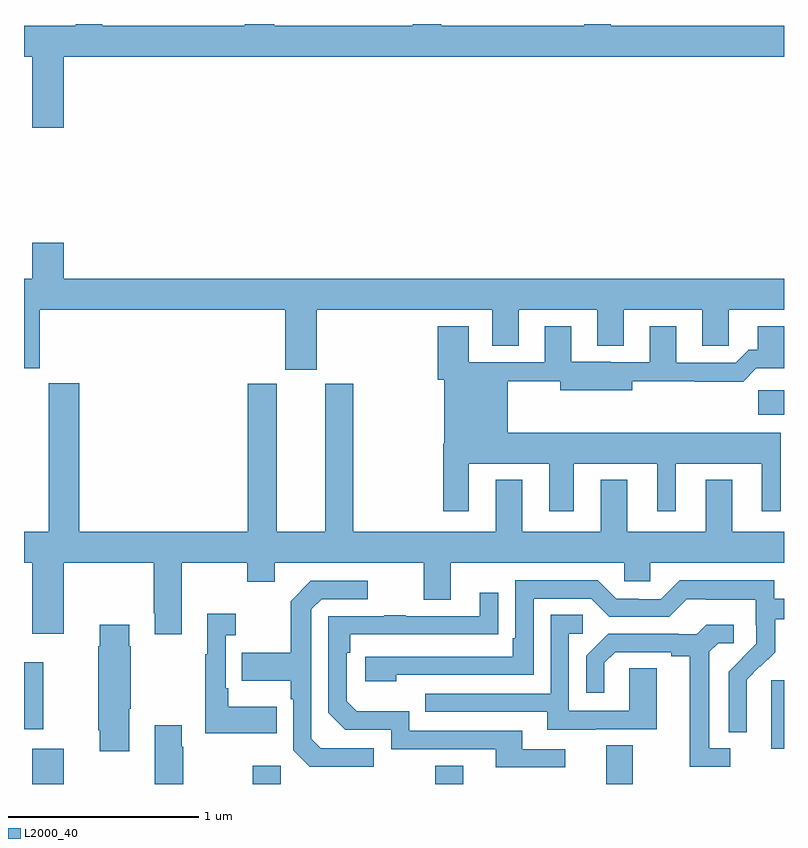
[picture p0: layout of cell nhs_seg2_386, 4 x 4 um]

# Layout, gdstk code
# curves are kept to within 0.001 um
import gdstk
lib = gdstk.Library(unit=1e-6, precision=1e-09)
def R(c, l, rs):  # rectangles x0, y0, x1, y1
    for r in rs: c.add(gdstk.rectangle(r[:2], r[2:], *l))
def P(c, l, *ps):  # polygons
    for p in ps: c.add(gdstk.Polygon(p, *l))
L2000_40 = (2000, 40)

nhs_seg2_386 = lib.new_cell('nhs_seg2_386')
R(nhs_seg2_386, L2000_40, [(129.044,651.8,129.208,651.985), (130.204,651.8,130.35,651.895), (131.164,651.8,131.311,651.895), (132.065,651.8,132.205,652.004), (132.932,651.986,133,652.347), (129,652.089,129.102,652.441), (132.864,653.744,133,653.873)])
P(nhs_seg2_386, L2000_40, [(129.208,655.628),(133,655.628),(133,655.792),(132.087,655.792),(132.087,655.8),(131.949,655.8),(131.949,655.792),(131.197,655.792),(131.197,655.8),(131.045,655.8),(131.045,655.792),(130.316,655.792),(130.316,655.8),(130.163,655.8),(130.163,655.792),(129.411,655.792),(129.411,655.8),(129.273,655.8),(129.273,655.792),(129,655.792),(129,655.628),(129.044,655.628),(129.044,655.254),(129.208,655.254)],
  [(130.54,654.296),(131.465,654.296),(131.465,654.106),(131.605,654.106),(131.605,654.296),(132.017,654.296),(132.017,654.107),(132.157,654.107),(132.157,654.296),(132.569,654.296),(132.569,654.106),(132.708,654.106),(132.708,654.296),(133,654.296),(133,654.46),(129.208,654.46),(129.208,654.649),(129.044,654.649),(129.044,654.46),(129,654.46),(129,653.987),(129.082,653.987),(129.082,654.296),(130.376,654.296),(130.376,653.979),(130.54,653.979)],
  [(131.341,653.486),(131.765,653.486),(131.765,653.235),(131.893,653.235),(131.893,653.486),(132.332,653.486),(132.332,653.235),(132.43,653.235),(132.43,653.486),(132.884,653.486),(132.884,653.235),(132.982,653.235),(132.982,653.65),(131.545,653.65),(131.545,653.92),(131.822,653.92),(131.822,653.873),(132.202,653.873),(132.202,653.92),(132.529,653.92),(132.529,653.918),(132.785,653.918),(132.854,653.987),(133,653.987),(133,654.208),(132.863,654.208),(132.863,654.085),(132.814,654.085),(132.747,654.018),(132.433,654.018),(132.433,654.208),(132.293,654.208),(132.293,654.021),(131.881,654.022),(131.881,654.208),(131.741,654.208),(131.741,654.021),(131.341,654.021),(131.341,654.208),(131.177,654.208),(131.177,653.928),(131.213,653.928),(131.213,653.59),(131.206,653.59),(131.206,653.235),(131.341,653.235)],
  [(129.829,652.964),(130.174,652.964),(130.174,652.865),(130.321,652.865),(130.321,652.964),(131.105,652.964),(131.105,652.77),(131.245,652.77),(131.245,652.964),(132.159,652.964),(132.159,652.866),(132.297,652.866),(132.297,652.964),(133,652.964),(133,653.128),(132.727,653.128),(132.727,653.401),(132.587,653.401),(132.587,653.128),(132.175,653.128),(132.175,653.401),(132.035,653.401),(132.035,653.128),(131.623,653.128),(131.623,653.401),(131.483,653.401),(131.483,653.128),(130.733,653.128),(130.733,653.907),(130.586,653.907),(130.586,653.128),(130.33,653.128),(130.33,653.907),(130.178,653.907),(130.178,653.128),(129.29,653.128),(129.29,653.908),(129.13,653.908),(129.13,653.128),(129,653.128),(129,652.964),(129.044,652.964),(129.044,652.59),(129.208,652.59),(129.208,652.964),(129.682,652.964),(129.682,652.699),(129.689,652.699),(129.689,652.587),(129.829,652.587)],
  [(132.804,652.226),(132.803,652.349),(132.873,652.419),(132.876,652.416),(132.953,652.493),(132.953,652.668),(133,652.668),(133,652.776),(132.948,652.776),(132.948,652.873),(132.451,652.873),(132.351,652.773),(132.236,652.773),(132.236,652.776),(132.117,652.776),(132.021,652.872),(131.586,652.872),(131.586,652.567),(131.573,652.567),(131.573,652.47),(130.797,652.47),(130.797,652.34),(130.958,652.34),(130.958,652.374),(131.682,652.374),(131.682,652.776),(131.985,652.776),(132.081,652.68),(132.396,652.68),(132.489,652.773),(132.589,652.773),(132.589,652.769),(132.852,652.769),(132.852,652.635),(132.854,652.635),(132.854,652.538),(132.708,652.39),(132.708,652.072),(132.804,652.072)],
  [(130.84,651.987),(130.563,651.987),(130.512,652.038),(130.512,652.719),(130.566,652.773),(130.81,652.773),(130.81,652.869),(130.509,652.869),(130.404,652.763),(130.404,652.491),(130.147,652.491),(130.147,652.343),(130.404,652.343),(130.404,652.247),(130.416,652.247),(130.416,651.978),(130.503,651.891),(130.84,651.891)],
  [(131.848,651.984),(131.623,651.984),(131.623,652.08),(131.028,652.08),(131.028,652.183),(130.751,652.183),(130.698,652.236),(130.698,652.49),(130.718,652.49),(130.718,652.587),(131.495,652.588),(131.495,652.807),(131.399,652.807),(131.399,652.683),(131.009,652.683),(131.009,652.688),(130.897,652.688),(130.897,652.683),(130.602,652.683),(130.602,652.176),(130.692,652.086),(130.932,652.086),(130.932,651.984),(131.483,651.984),(131.483,651.888),(131.848,651.888)],
  [(130.331,652.207),(130.075,652.207),(130.075,652.303),(130.062,652.303),(130.062,652.583),(130.114,652.583),(130.114,652.696),(129.965,652.696),(129.965,652.483),(129.954,652.483),(129.954,652.067),(130.331,652.067)],
  [(132.007,652.089),(132.331,652.089),(132.331,652.409),(132.186,652.409),(132.186,652.185),(131.868,652.185),(131.868,652.59),(131.941,652.59),(131.941,652.691),(131.772,652.691),(131.772,652.275),(131.113,652.275),(131.113,652.179),(131.753,652.179),(131.753,652.085),(132.007,652.085)],
  [(129.553,652.195),(129.561,652.195),(129.561,652.526),(129.553,652.526),(129.553,652.639),(129.398,652.639),(129.398,652.526),(129.391,652.526),(129.391,652.084),(129.398,652.084),(129.398,651.972),(129.553,651.972)],
  [(132.718,651.987),(132.607,651.987),(132.607,652.495),(132.654,652.542),(132.736,652.542),(132.736,652.639),(132.592,652.639),(132.54,652.587),(132.446,652.587),(132.446,652.59),(132.074,652.59),(131.958,652.474),(131.958,652.281),(132.055,652.281),(132.055,652.437),(132.112,652.494),(132.407,652.494),(132.407,652.472),(132.503,652.472),(132.503,651.891),(132.718,651.891)],
  [(129.837,651.995),(129.829,651.995),(129.829,652.108),(129.689,652.108),(129.689,651.8),(129.837,651.8)])

lib.write_gds('nhs_seg2_386.gds')
